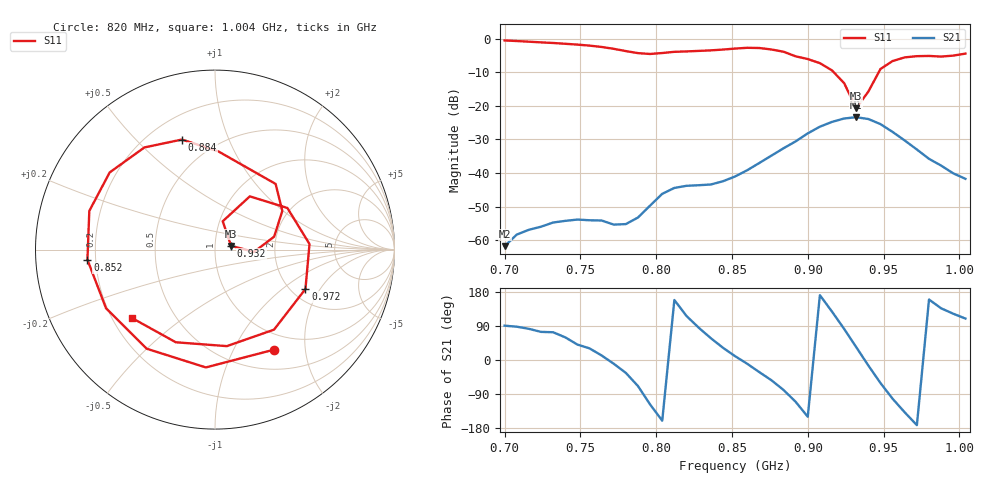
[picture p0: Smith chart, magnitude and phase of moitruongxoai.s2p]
# Hz S RI R 50
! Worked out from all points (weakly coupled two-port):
!   39 points, 700 MHz to 1.004 GHz, reference 50 ohm
!   highest |S21| = -23.39 dB at 932 MHz (marker M1); lowest = -61.8 dB at 700 MHz (marker M2)
!   lowest |S11| = -20.7 dB at 932 MHz (marker M3), VSWR 1.20, Z = 59.8 + j2.52 ohm
!   |S11| at or under -10 dB: 917.2 MHz to 946.8 MHz (29.63 MHz wide, 3.18 % of centre)
!   S12 and S22 are empty: the file has one direction only
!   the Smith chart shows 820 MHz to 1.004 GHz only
!   S11 on the Smith chart (normalised r, x): 820 MHz: 0.76, -1.46; 852 MHz: 0.17, -0.04; 884 MHz: 0.33, +0.69; 932 MHz: 1.20, +0.05; 972 MHz: 2.37, -1.49; 1.004 GHz: 0.28, -0.33
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7e8  0.7628 0.5534  -8.43e-06 0.000812  0 0  0 0
7.24e8  0.8481 -0.2449  0.000431 0.00152  0 0  0 0
7.4e8  0.467 -0.6992  0.000973 0.00167  0 0  0 0
7.56e8  -0.1802 -0.7691  0.0017 0.00101  0 0  0 0
7.72e8  -0.6677 -0.2323  0.00168 -0.000292  0 0  0 0
7.8e8  -0.6234 0.1991  0.00143 -0.00097  0 0  0 0
7.88e8  -0.2968 0.5331  0.000785 -0.00202  0 0  0 0
7.96e8  0.1931 0.5605  -0.0015 -0.0029  0 0  0 0
8.04e8  0.5638 0.239  -0.0046 -0.00166  0 0  0 0
8.12e8  0.5954 -0.2294  -0.00556 0.00221  0 0  0 0
8.2e8  0.3277 -0.5578  -0.00284 0.00578  0 0  0 0
8.36e8  -0.3806 -0.5522  0.00359 0.00569  0 0  0 0
8.52e8  -0.7107 -0.0564  0.00871 0.00156  0 0  0 0
8.68e8  -0.5867 0.4301  0.0119 -0.00743  0 0  0 0
8.84e8  -0.1844 0.6132  0.00444 -0.0229  0 0  0 0
9.08e8  0.3751 0.2155  -0.0483 0.00762  0 0  0 0
9.32e8  0.0898 0.0209  0.0563 0.0377  0 0  0 0
9.4e8  0.043 0.1578  0.0616 -0.0162  0 0  0 0
9.56e8  0.4033 0.2319  -0.00873 -0.0399  0 0  0 0
9.72e8  0.5039 -0.2194  -0.0221 -0.00314  0 0  0 0
9.88e8  0.0659 -0.5378  -0.00933 0.00888  0 0  0 0
1.004e9  -0.4637 -0.3805  -0.00272 0.00772  0 0  0 0
